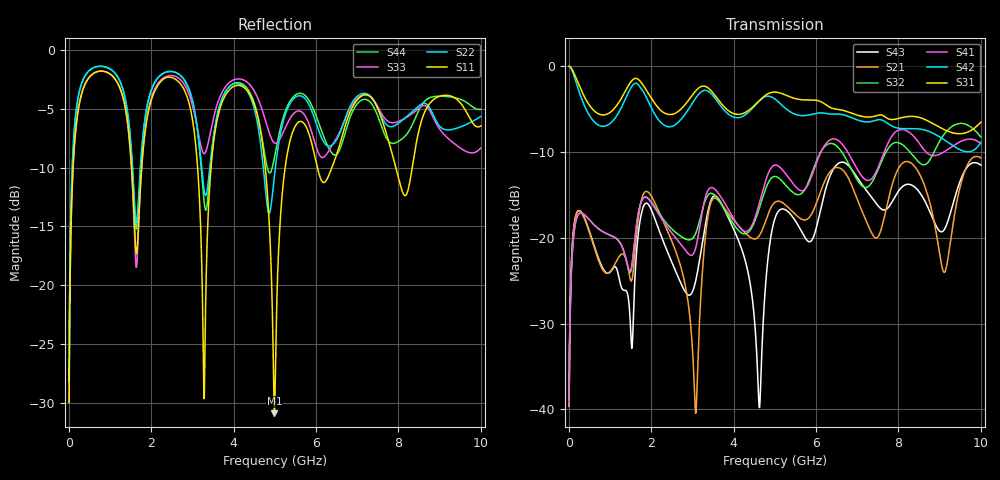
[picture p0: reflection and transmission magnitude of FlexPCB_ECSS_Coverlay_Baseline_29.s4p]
! TOUCHSTONE file generated by CST MICROWAVE STUDIO
! Date and time: Sun Jul  5 19:09:50 2026
! Project name: FlexPCB_ECSS_Coverlay_Baseline.cst
! Parameters = {Gap=1.2; GroundW=8.6; Hadh=0.025; Hcov=0.025; Hsub=0.1; L=50; Tcu=0.035; W=0.14}
! Header version: 2024
! Port assignment regex: !\s*Touchstone port\s*([0-9]+)\s*=\s*(CST MWS port|CST DES external port|CST DES block port)\s*(.+)\s* \(\"(.*)\"\)(\s*mode\s*([0-9]+))?.*
! Touchstone port assignment:
! Touchstone port 1 = CST MWS port 1 ("")
! Touchstone port 2 = CST MWS port 2 ("")
! Touchstone port 3 = CST MWS port 3 ("")
! Touchstone port 4 = CST MWS port 4 ("")
# GHz S MA R 50
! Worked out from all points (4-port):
!   1002 points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, 10 MHz to 10 GHz, reference 50 ohm
!   strongest paths, dB at 10 MHz, 2.51 GHz, 5.01 GHz, 7.503 GHz, 10 GHz:
!     S31: 0.0, -5.6, -3.0, -5.7, -6.5
!     S42: 0.0, -7.0, -3.9, -6.3, -8.9
!     S41: -39.7, -19.5, -11.5, -11.9, -9.0
!     S32: -39.7, -19.0, -12.9, -12.1, -8.3
!     S21: -38.7, -20.5, -15.9, -19.9, -10.7
!     S43: -38.7, -23.0, -17.7, -16.3, -11.5
!   lowest |S11| = -30.9 dB at 4.99 GHz (marker M1), VSWR 1.06, Z = 52.9 - j0.434 ohm
!   |S11| at or under -10 dB: 4.769 GHz to 5.251 GHz (482.4 MHz wide, 9.63 % of centre); 6.033 GHz to 6.385 GHz (351.7 MHz wide, 5.66 % of centre); 7.936 GHz to 8.334 GHz (398 MHz wide, 4.89 % of centre)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
0.01  0.03185 -90.2  0.01167 85.3  0.998 -2.3  0.01041 85.5
      0.01167 85.3  0.039 -91.0  0.01041 85.6  0.9977 -2.7
      0.998 -2.3  0.01041 85.6  0.03185 -90.2  0.01167 85.3
      0.01041 85.5  0.9977 -2.7  0.01167 85.3  0.039 -91.0
1.6  0.1743 139.3  0.07892 33.9  0.8454 -176.5  0.09577 -120.2
     0.07892 33.9  0.2193 148.9  0.09431 -117.1  0.7904 -175.6
     0.8454 -176.5  0.09431 -117.1  0.158 142.9  0.05378 65.8
     0.09577 -120.2  0.7904 -175.6  0.05378 65.8  0.2079 148.8
3.25  0.07877 59.4  0.06642 75.3  0.7635 -1.4  0.1459 71.2
      0.06642 75.3  0.2857 146.9  0.147 60.7  0.7164 3.5
      0.7635 -1.4  0.147 60.7  0.3683 168.7  0.09571 29.9
      0.1459 71.2  0.7164 3.5  0.09571 29.9  0.2643 144.8
4.26  0.6902 157.9  0.108 -98.3  0.5327 -110.2  0.1089 -60.5
      0.108 -98.3  0.6933 159.9  0.1052 -58.3  0.5149 -110.9
      0.5327 -110.2  0.1052 -58.3  0.7416 165.7  0.07687 -73.7
      0.1089 -60.5  0.5149 -110.9  0.07687 -73.7  0.7063 166.9
4.99  0.0286 -8.2  0.1597 55.1  0.7052 165.9  0.2643 -128.5
      0.1597 55.1  0.2904 -158.5  0.2274 -126.6  0.6459 156.5
      0.7052 165.9  0.2274 -126.6  0.4023 161.4  0.1265 19.1
      0.2643 -128.5  0.6459 156.5  0.1265 19.1  0.348 -169.0
6.2  0.2733 -167.1  0.2104 117.8  0.6038 18.5  0.3421 101.5
     0.2104 117.8  0.4027 170.4  0.3374 103.7  0.5313 21.5
     0.6038 18.5  0.3374 103.7  0.3508 174.1  0.1791 94.3
     0.3421 101.5  0.5313 21.5  0.1791 94.3  0.4216 163.2
10  0.4751 -169.9  0.2912 -14.9  0.471 -37.0  0.3543 10.0
    0.2912 -14.9  0.5213 -172.2  0.3862 12.2  0.3599 -45.1
    0.471 -37.0  0.3862 12.2  0.3831 -176.4  0.2649 -25.2
    0.3543 10.0  0.3599 -45.1  0.2649 -25.2  0.5583 178.5
